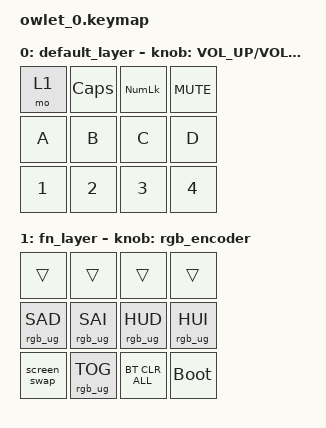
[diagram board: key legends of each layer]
/*
 * owlet_0 键位映射文件
 * 路径：boards/shields/owlet_0/owlet_0.keymap
 *
 * 2026-11-22：由 boards/arm/owlet/owlet.keymap 迁入键盘 shield。
 * 2026-11-19 修改记录：
 *   对调 EC11 编码器方向，修正音量与亮度增减反相的问题。
 */
#include <behaviors.dtsi>
#include <dt-bindings/zmk/keys.h>
#include <dt-bindings/zmk/bt.h>
#include <dt-bindings/zmk/rgb.h>

/ {
	behaviors {
		rgb_encoder: rgb_encoder {
			compatible = "zmk,behavior-sensor-rotate";
			#sensor-binding-cells = <0>;
			/* 顺时针：亮度增；逆时针：亮度减 */
			bindings = <&rgb_ug RGB_BRI>, <&rgb_ug RGB_BRD>;
		};
	};

	keymap {
		compatible = "zmk,keymap";

		default_layer {
			bindings = <
				&mo 1       &kp CAPS      &kp KP_NUMLOCK  &kp C_MUTE
				&kp A       &kp B         &kp C           &kp D
				&kp N1      &kp N2        &kp N3          &kp N4
			>;
			/* 顺时针：音量增；逆时针：音量减 */
			sensor-bindings = <&inc_dec_kp C_VOL_UP C_VOL_DN>;
		};

		fn_layer {
			bindings = <
				&trans          &trans          &trans          &trans
				&rgb_ug RGB_SAD &rgb_ug RGB_SAI &rgb_ug RGB_HUD &rgb_ug RGB_HUI
				&screen_swap    &rgb_ug RGB_TOG &bt BT_CLR_ALL  &bootloader
			>;
			sensor-bindings = <&rgb_encoder>;
		};
	};
};
